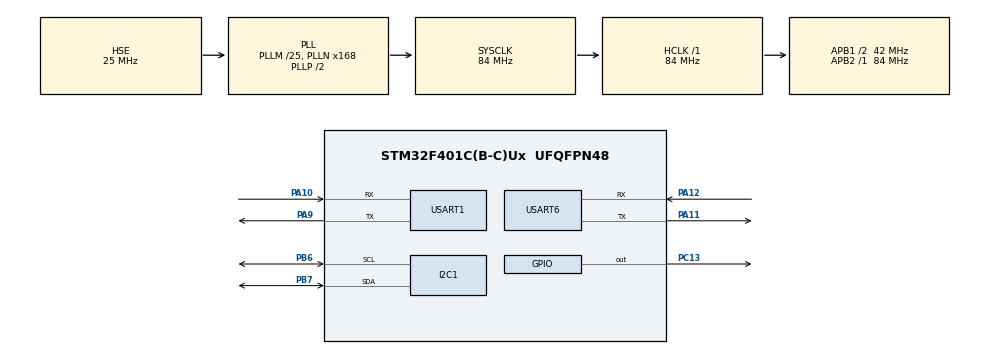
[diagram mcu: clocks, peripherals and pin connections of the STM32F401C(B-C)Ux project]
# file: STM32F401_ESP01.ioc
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Dma.Request0=USART6_RX
Dma.USART6_RX.0.Direction=DMA_PERIPH_TO_MEMORY
Dma.USART6_RX.0.FIFOMode=DMA_FIFOMODE_DISABLE
Dma.USART6_RX.0.Instance=DMA2_Stream1
Dma.USART6_RX.0.MemDataAlignment=DMA_MDATAALIGN_BYTE
Dma.USART6_RX.0.MemInc=DMA_MINC_ENABLE
Dma.USART6_RX.0.Mode=DMA_CIRCULAR
Dma.USART6_RX.0.PeriphDataAlignment=DMA_PDATAALIGN_BYTE
Dma.USART6_RX.0.PeriphInc=DMA_PINC_DISABLE
Dma.USART6_RX.0.Priority=DMA_PRIORITY_LOW
Mcu.Family=STM32F4
Mcu.Name=STM32F401C(B-C)Ux
Mcu.Package=UFQFPN48
NVIC.DMA2_Stream1_IRQn=true\:0\:0\:false\:false\:true\:false\:true\:true
NVIC.PriorityGroup=NVIC_PRIORITYGROUP_4
NVIC.USART1_IRQn=true\:0\:0\:false\:false\:true\:true\:true\:true
NVIC.USART6_IRQn=true\:0\:0\:false\:false\:true\:true\:true\:true
PA10.Mode=Asynchronous
PA10.Signal=USART1_RX
PA11.Mode=Asynchronous
PA11.Signal=USART6_TX
PA12.Mode=Asynchronous
PA12.Signal=USART6_RX
PA13.Mode=Serial_Wire
PA13.Signal=SYS_JTMS-SWDIO
PA14.Mode=Serial_Wire
PA14.Signal=SYS_JTCK-SWCLK
PA9.Mode=Asynchronous
PA9.Signal=USART1_TX
PB6.Mode=I2C
PB6.Signal=I2C1_SCL
PB7.Mode=I2C
PB7.Signal=I2C1_SDA
PC13-ANTI_TAMP.Signal=GPIO_Output
PH0\ -\ OSC_IN.Mode=HSE-External-Oscillator
PH0\ -\ OSC_IN.Signal=RCC_OSC_IN
PH1\ -\ OSC_OUT.Mode=HSE-External-Oscillator
PH1\ -\ OSC_OUT.Signal=RCC_OSC_OUT
ProjectManager.HeapSize=0x200
ProjectManager.StackSize=0x400
ProjectManager.TargetToolchain=STM32CubeIDE
RCC.48MHZClocksFreq_Value=42000000
RCC.AHBFreq_Value=84000000
RCC.APB1CLKDivider=RCC_HCLK_DIV2
RCC.APB1Freq_Value=42000000
RCC.APB1TimFreq_Value=84000000
RCC.APB2Freq_Value=84000000
RCC.APB2TimFreq_Value=84000000
RCC.CortexFreq_Value=84000000
RCC.HCLKFreq_Value=84000000
RCC.HSE_VALUE=25000000
RCC.HSI_VALUE=16000000
RCC.LSE_VALUE=32768
RCC.PLLM=25
RCC.PLLN=168
RCC.PLLSourceVirtual=RCC_PLLSOURCE_HSE
RCC.SYSCLKFreq_VALUE=84000000
RCC.SYSCLKSource=RCC_SYSCLKSOURCE_PLLCLK
RCC.VCOOutputFreq_Value=168000000
USART1.VirtualMode=VM_ASYNC
USART6.VirtualMode=VM_ASYNC
board=custom

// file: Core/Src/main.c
/* USER CODE BEGIN Header */
/**
  ******************************************************************************
  * @file           : main.c
  * @brief          : Main program body
  ******************************************************************************
  * @attention
  *
  * Copyright (c) 2025 STMicroelectronics.
  * All rights reserved.
  *
  * This software is licensed under terms that can be found in the LICENSE file
  * in the root directory of this software component.
  * If no LICENSE file comes with this software, it is provided AS-IS.
  *
  ******************************************************************************
  */
/* USER CODE END Header */
#include "main.h"

/* USER CODE BEGIN Includes */
#include "esp_bridge.h" // Тепер включаємо наш новий файл заголовків

#include <string.h>
#include <stdio.h>
#include "BME280_STM32.h"
#include <math.h>
/* USER CODE END Includes */

I2C_HandleTypeDef hi2c1;

UART_HandleTypeDef huart1;
UART_HandleTypeDef huart6;
DMA_HandleTypeDef hdma_usart6_rx;

void SystemClock_Config(void);
static void MX_GPIO_Init(void);
static void MX_DMA_Init(void);
static void MX_USART1_UART_Init(void);
static void MX_USART6_UART_Init(void);
static void MX_I2C1_Init(void);

/* USER CODE BEGIN 0 */

float Temperature, Pressure, Humidity, Altitude;

uint32_t last_display_time = 0;
const uint32_t display_interval = 5000; // 5000 мс = 5 секунд

volatile uint8_t led_state = 0; // 0 - OFF, 1 - ON

float sea_level_pressure = 101325.0;

float BME280_CalculateAltitude(float Pressure, float sea_level_pressure_Pa) {
    return 44330.0 * (1.0 - pow(Pressure / sea_level_pressure_Pa, 1.0 / 5.255));
}

/* USER CODE END 0 */

int main(void)
{

  /* MCU Configuration--------------------------------------------------------*/

  /* Reset of all peripherals, Initializes the Flash interface and the Systick. */
  HAL_Init();

  /* Configure the system clock */
  SystemClock_Config();

  /* Initialize all configured peripherals */
  MX_GPIO_Init();
  MX_DMA_Init();
  MX_USART1_UART_Init();
  MX_USART6_UART_Init();
  MX_I2C1_Init();
  /* USER CODE BEGIN 2 */
  ESP_Bridge_Init();

  if (BME280_Config(OSRS_2, OSRS_16, OSRS_1, MODE_NORMAL, T_SB_0p5, IIR_16) != 0)
  {
	  Error_Handler();
  }
  /* USER CODE END 2 */

  /* Infinite loop */
  while (1)
  {

    /* USER CODE BEGIN 3 */
	  ESP_Bridge_Process();

	  if (HAL_GetTick() - last_display_time >= display_interval)
	      {
	          // Оновлюємо час останнього виводу
	          last_display_time = HAL_GetTick();

	          // Оновлюємо дані з датчика BME280
	          BME280_Measure();
	          Altitude = fabs((BME280_CalculateAltitude(Pressure, sea_level_pressure))-155);
	          // Форматуємо та виводимо рядок у UART
	          char msg[128];
	          int len = snprintf(msg, sizeof(msg), "Temp: %.2f C | Hum: %.2f %% | Press: %.2f hPa | Height %.2f  m\r\n",
	                             Temperature, Humidity, (Pressure / 100.0f), Altitude);

	          if (len > 0) {
	              HAL_UART_Transmit(&huart1, (uint8_t*)msg, len, HAL_MAX_DELAY);
	          }
	      }

  }
  /* USER CODE END 3 */
}

void SystemClock_Config(void)
{
  RCC_OscInitTypeDef RCC_OscInitStruct = {0};
  RCC_ClkInitTypeDef RCC_ClkInitStruct = {0};

  /** Configure the main internal regulator output voltage
  */
  __HAL_RCC_PWR_CLK_ENABLE();
  __HAL_PWR_VOLTAGESCALING_CONFIG(PWR_REGULATOR_VOLTAGE_SCALE2);

  /** Initializes the RCC Oscillators according to the specified parameters
  * in the RCC_OscInitTypeDef structure.
  */
  RCC_OscInitStruct.OscillatorType = RCC_OSCILLATORTYPE_HSE;
  RCC_OscInitStruct.HSEState = RCC_HSE_ON;
  RCC_OscInitStruct.PLL.PLLState = RCC_PLL_ON;
  RCC_OscInitStruct.PLL.PLLSource = RCC_PLLSOURCE_HSE;
  RCC_OscInitStruct.PLL.PLLM = 25;
  RCC_OscInitStruct.PLL.PLLN = 168;
  RCC_OscInitStruct.PLL.PLLP = RCC_PLLP_DIV2;
  RCC_OscInitStruct.PLL.PLLQ = 4;
  if (HAL_RCC_OscConfig(&RCC_OscInitStruct) != HAL_OK)
  {
    Error_Handler();
  }

  /** Initializes the CPU, AHB and APB buses clocks
  */
  RCC_ClkInitStruct.ClockType = RCC_CLOCKTYPE_HCLK|RCC_CLOCKTYPE_SYSCLK
                              |RCC_CLOCKTYPE_PCLK1|RCC_CLOCKTYPE_PCLK2;
  RCC_ClkInitStruct.SYSCLKSource = RCC_SYSCLKSOURCE_PLLCLK;
  RCC_ClkInitStruct.AHBCLKDivider = RCC_SYSCLK_DIV1;
  RCC_ClkInitStruct.APB1CLKDivider = RCC_HCLK_DIV2;
  RCC_ClkInitStruct.APB2CLKDivider = RCC_HCLK_DIV1;

  if (HAL_RCC_ClockConfig(&RCC_ClkInitStruct, FLASH_LATENCY_2) != HAL_OK)
  {
    Error_Handler();
  }
}

static void MX_I2C1_Init(void)
{

  hi2c1.Instance = I2C1;
  hi2c1.Init.ClockSpeed = 100000;
  hi2c1.Init.DutyCycle = I2C_DUTYCYCLE_2;
  hi2c1.Init.OwnAddress1 = 0;
  hi2c1.Init.AddressingMode = I2C_ADDRESSINGMODE_7BIT;
  hi2c1.Init.DualAddressMode = I2C_DUALADDRESS_DISABLE;
  hi2c1.Init.OwnAddress2 = 0;
  hi2c1.Init.GeneralCallMode = I2C_GENERALCALL_DISABLE;
  hi2c1.Init.NoStretchMode = I2C_NOSTRETCH_DISABLE;
  if (HAL_I2C_Init(&hi2c1) != HAL_OK)
  {
    Error_Handler();
  }

}

static void MX_USART1_UART_Init(void)
{

  huart1.Instance = USART1;
  huart1.Init.BaudRate = 115200;
  huart1.Init.WordLength = UART_WORDLENGTH_8B;
  huart1.Init.StopBits = UART_STOPBITS_1;
  huart1.Init.Parity = UART_PARITY_NONE;
  huart1.Init.Mode = UART_MODE_TX_RX;
  huart1.Init.HwFlowCtl = UART_HWCONTROL_NONE;
  huart1.Init.OverSampling = UART_OVERSAMPLING_16;
  if (HAL_UART_Init(&huart1) != HAL_OK)
  {
    Error_Handler();
  }

}

static void MX_USART6_UART_Init(void)
{

  huart6.Instance = USART6;
  huart6.Init.BaudRate = 115200;
  huart6.Init.WordLength = UART_WORDLENGTH_8B;
  huart6.Init.StopBits = UART_STOPBITS_1;
  huart6.Init.Parity = UART_PARITY_NONE;
  huart6.Init.Mode = UART_MODE_TX_RX;
  huart6.Init.HwFlowCtl = UART_HWCONTROL_NONE;
  huart6.Init.OverSampling = UART_OVERSAMPLING_16;
  if (HAL_UART_Init(&huart6) != HAL_OK)
  {
    Error_Handler();
  }

}

static void MX_DMA_Init(void)
{

  /* DMA controller clock enable */
  __HAL_RCC_DMA2_CLK_ENABLE();

  /* DMA interrupt init */
  /* DMA2_Stream1_IRQn interrupt configuration */
  HAL_NVIC_SetPriority(DMA2_Stream1_IRQn, 0, 0);
  HAL_NVIC_EnableIRQ(DMA2_Stream1_IRQn);

}

static void MX_GPIO_Init(void)
{
  GPIO_InitTypeDef GPIO_InitStruct = {0};

  /* GPIO Ports Clock Enable */
  __HAL_RCC_GPIOC_CLK_ENABLE();
  __HAL_RCC_GPIOH_CLK_ENABLE();
  __HAL_RCC_GPIOA_CLK_ENABLE();
  __HAL_RCC_GPIOB_CLK_ENABLE();

  /*Configure GPIO pin Output Level */
  HAL_GPIO_WritePin(GPIOC, GPIO_PIN_13, GPIO_PIN_RESET);

  /*Configure GPIO pin : PC13 */
  GPIO_InitStruct.Pin = GPIO_PIN_13;
  GPIO_InitStruct.Mode = GPIO_MODE_OUTPUT_PP;
  GPIO_InitStruct.Pull = GPIO_NOPULL;
  GPIO_InitStruct.Speed = GPIO_SPEED_FREQ_LOW;
  HAL_GPIO_Init(GPIOC, &GPIO_InitStruct);

}

void Error_Handler(void)
{
  __disable_irq();
  while (1)
  {
  }
}
